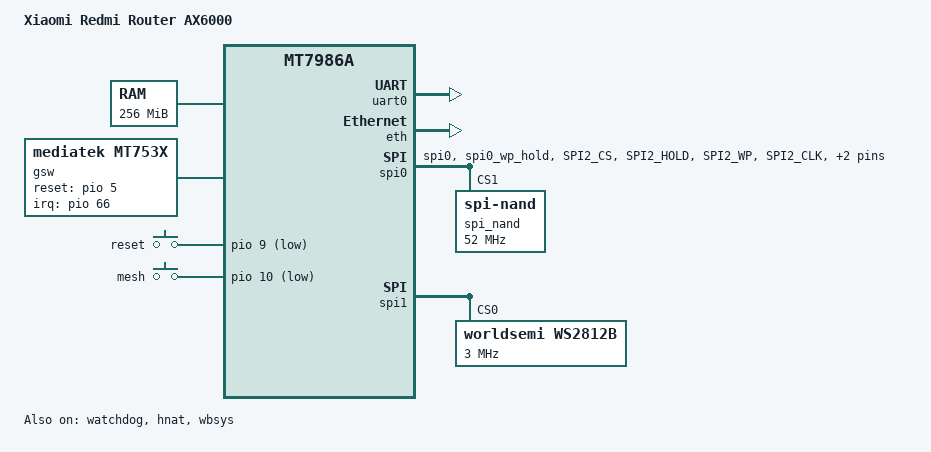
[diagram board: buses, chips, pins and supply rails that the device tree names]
// SPDX-License-Identifier: (GPL-2.0 OR MIT)

/dts-v1/;
#include <dt-bindings/input/input.h>
#include <dt-bindings/gpio/gpio.h>
#include <dt-bindings/leds/common.h>

#include "mt7986a.dtsi"
#include "mt7986a-pinctrl.dtsi"

/ {
	model = "Xiaomi Redmi Router AX6000";
	compatible = "xiaomi,redmi-router-ax6000", "mediatek,mt7986a";

	aliases {
		led-boot = &led_status_rgb;
		led-failsafe = &led_status_rgb;
		led-running = &led_status_rgb;
		led-upgrade = &led_status_rgb;
	};

	chosen {
		bootargs = "console=ttyS0,115200n1 loglevel=8 earlycon=uart8250,mmio32,0x11002000";
	};

	memory {
		reg = <0 0x40000000 0 0x10000000>;
	};

	gsw: gsw@0 {
		compatible = "mediatek,mt753x";
		mediatek,ethsys = <&ethsys>;
		#address-cells = <1>;
		#size-cells = <0>;
	};

	keys {
		compatible = "gpio-keys";

		reset {
			label = "reset";
			gpios = <&pio 9 GPIO_ACTIVE_LOW>;
			linux,code = <KEY_RESTART>;
		};

		mesh {
			label = "mesh";
			gpios = <&pio 10 GPIO_ACTIVE_LOW>;
			linux,code = <BTN_9>;
			linux,input-type = <EV_SW>;
		};
	};
};

&uart0 {
	status = "okay";
};

&watchdog {
	status = "okay";
};

&eth {
	status = "okay";

	gmac0: mac@0 {
		compatible = "mediatek,eth-mac";
		reg = <0>;
		phy-mode = "2500base-x";

		fixed-link {
			speed = <2500>;
			full-duplex;
			pause;
		};
	};

	gmac1: mac@1 {
		compatible = "mediatek,eth-mac";
		reg = <1>;
		phy-mode = "2500base-x";

		fixed-link {
			speed = <2500>;
			full-duplex;
			pause;
		};
	};

	mdio: mdio-bus {
		#address-cells = <1>;
		#size-cells = <0>;
	};
};

&gsw {
	mediatek,mdio = <&mdio>;
	mediatek,mdio_master_pinmux = <0>;
	reset-gpios = <&pio 5 0>;
	interrupt-parent = <&pio>;
	interrupts = <66 IRQ_TYPE_LEVEL_HIGH>;
	status = "okay";

	port5: port@5 {
		compatible = "mediatek,mt753x-port";
		reg = <5>;
		phy-mode = "sgmii";

		fixed-link {
			speed = <2500>;
			full-duplex;
		};
	};

	port6: port@6 {
		compatible = "mediatek,mt753x-port";
		mediatek,ssc-on;
		reg = <6>;
		phy-mode = "sgmii";

		fixed-link {
			speed = <2500>;
			full-duplex;
		};
	};
};

&hnat {
	mtketh-wan = "eth1";
	mtketh-lan = "eth0";
	mtketh-max-gmac = <2>;
	mtketh-ppe-num = <2>;
	status = "okay";
};

&spi0 {
	pinctrl-names = "default";
	pinctrl-0 = <&spi_flash_pins>;
	cs-gpios = <0>, <0>;
	status = "okay";

	spi_nand: spi_nand@1 {
		#address-cells = <1>;
		#size-cells = <1>;
		compatible = "spi-nand";
		reg = <1>;
		spi-max-frequency = <52000000>;
		spi-tx-bus-width = <4>;
		spi-rx-bus-width = <4>;
		spi-cal-enable;
		spi-cal-mode = "read-data";
		spi-cal-datalen = <7>;
		spi-cal-data = /bits/ 8 <0x53 0x50 0x49 0x4E 0x41 0x4E 0x44>; /* 'SPINAND' */
		spi-cal-addrlen = <5>;
		spi-cal-addr = /bits/ 32 <0x0 0x0 0x0 0x0 0x0>;
	};
};

&spi1 {
	pinctrl-names = "default";
	pinctrl-0 = <&spic_pins_g2>;
	status = "okay";

	ws2812b@0 {
		#address-cells = <1>;
		#size-cells = <0>;
		compatible = "worldsemi,ws2812b";
		reg = <0>;
		spi-max-frequency = <3000000>;

		led_status_rgb: led@0 {
			reg = <0>;
			label = "rgb:status";
			color-index = <LED_COLOR_ID_RED LED_COLOR_ID_GREEN LED_COLOR_ID_BLUE>;
			color-intensity = <0 255 0>; /* GREEN */
		};

		led_network_rgb: led@1 {
			reg = <1>;
			label = "rgb:network";
			color-index = <LED_COLOR_ID_RED LED_COLOR_ID_GREEN LED_COLOR_ID_BLUE>;
			color-intensity = <0 0 255>; /* BLUE */
		};
	};
};

&wbsys {
	status = "okay";
	pinctrl-names = "default", "dbdc";
	pinctrl-0 = <&wf_2g_5g_pins>;
	pinctrl-1 = <&wf_dbdc_pins>;
};

&pio {
	spi_flash_pins: spi-flash-pins-33-to-38 {
		mux {
			function = "flash";
			groups = "spi0", "spi0_wp_hold";
		};
		conf-pu {
			pins = "SPI2_CS", "SPI2_HOLD", "SPI2_WP";
			drive-strength = <8>;
			mediatek,pull-up-adv = <0>;
		};
		conf-pd {
			pins = "SPI2_CLK", "SPI2_MOSI", "SPI2_MISO";
			drive-strength = <8>;
			mediatek,pull-down-adv = <0>;
		};
	};

	wf_2g_5g_pins: wf_2g_5g-pins {
		mux {
			function = "wifi";
			groups = "wf_2g", "wf_5g";
		};
		conf {
			pins = "WF0_HB1", "WF0_HB2", "WF0_HB3", "WF0_HB4",
			       "WF0_HB0", "WF0_HB0_B", "WF0_HB5", "WF0_HB6",
			       "WF0_HB7", "WF0_HB8", "WF0_HB9", "WF0_HB10",
			       "WF0_TOP_CLK", "WF0_TOP_DATA", "WF1_HB1",
			       "WF1_HB2", "WF1_HB3", "WF1_HB4", "WF1_HB0",
			       "WF1_HB5", "WF1_HB6", "WF1_HB7", "WF1_HB8",
			       "WF1_TOP_CLK", "WF1_TOP_DATA";
			drive-strength = <MTK_DRIVE_4mA>;
		};
	};

	wf_dbdc_pins: wf_dbdc-pins {
		mux {
			function = "wifi";
			groups = "wf_dbdc";
		};
		conf {
			pins = "WF0_HB1", "WF0_HB2", "WF0_HB3", "WF0_HB4",
			       "WF0_HB0", "WF0_HB0_B", "WF0_HB5", "WF0_HB6",
			       "WF0_HB7", "WF0_HB8", "WF0_HB9", "WF0_HB10",
			       "WF0_TOP_CLK", "WF0_TOP_DATA", "WF1_HB1",
			       "WF1_HB2", "WF1_HB3", "WF1_HB4", "WF1_HB0",
			       "WF1_HB5", "WF1_HB6", "WF1_HB7", "WF1_HB8",
			       "WF1_TOP_CLK", "WF1_TOP_DATA";
			drive-strength = <MTK_DRIVE_4mA>;
		};
	};
};
